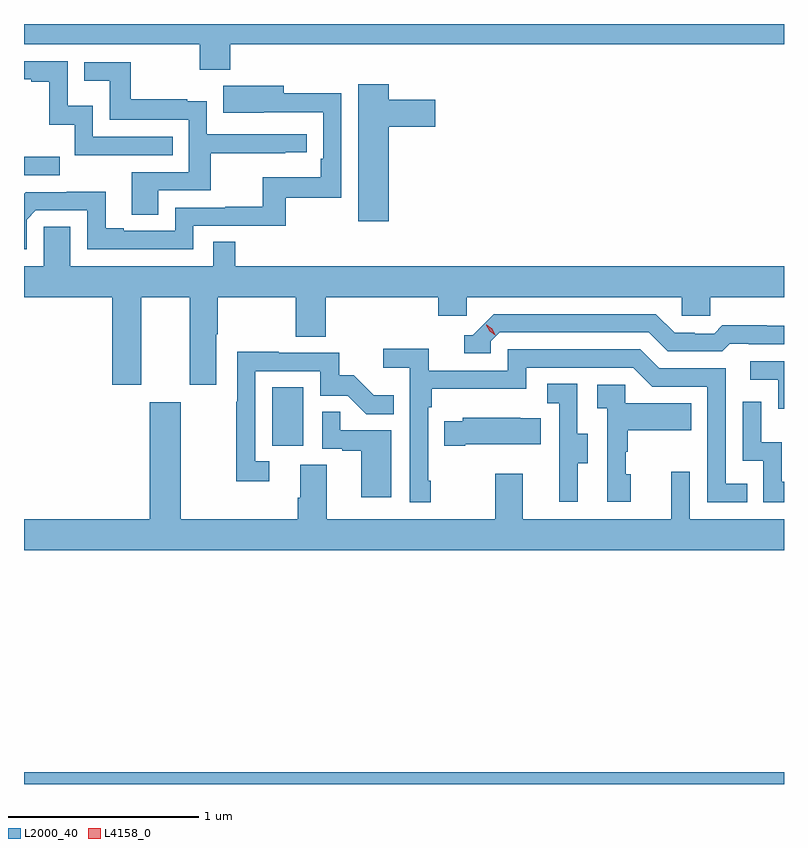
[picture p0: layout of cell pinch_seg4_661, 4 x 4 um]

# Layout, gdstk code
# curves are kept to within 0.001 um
import gdstk
lib = gdstk.Library(unit=1e-6, precision=1e-09)
def R(c, l, rs):  # rectangles x0, y0, x1, y1
    for r in rs: c.add(gdstk.rectangle(r[:2], r[2:], *l))
def P(c, l, *ps):  # polygons
    for p in ps: c.add(gdstk.Polygon(p, *l))
L2000_40 = (2000, 40)
L4158_0 = (4158, 0)

pinch_seg4_661 = lib.new_cell('pinch_seg4_661')
R(pinch_seg4_661, L2000_40, [(1117.281,764.954,1121.281,765.016), (1118.588,766.734,1118.752,767.041), (1117.281,768.159,1117.468,768.256)])
P(pinch_seg4_661, L2000_40, [(1118.366,768.848),(1121.281,768.848),(1121.281,768.954),(1117.281,768.954),(1117.281,768.848),(1118.206,768.848),(1118.206,768.713),(1118.366,768.713)],
  [(1118.063,768.36),(1117.644,768.36),(1117.644,768.523),(1117.512,768.523),(1117.512,768.759),(1117.281,768.759),(1117.281,768.663),(1117.319,768.663),(1117.319,768.651),(1117.415,768.651),(1117.415,768.425),(1117.548,768.425),(1117.548,768.264),(1118.063,768.264)],
  [(1117.987,768.078),(1118.264,768.078),(1118.264,768.274),(1118.657,768.274),(1118.657,768.279),(1118.77,768.279),(1118.77,768.375),(1118.244,768.375),(1118.244,768.547),(1118.141,768.547),(1118.141,768.559),(1117.843,768.559),(1117.843,768.753),(1117.597,768.753),(1117.597,768.656),(1117.732,768.656),(1117.732,768.45),(1118.148,768.45),(1118.148,768.174),(1117.847,768.174),(1117.847,767.95),(1117.987,767.95)],
  [(1119.202,768.413),(1119.445,768.413),(1119.445,768.555),(1119.202,768.555),(1119.202,768.637),(1119.041,768.637),(1119.041,767.916),(1119.202,767.916)],
  [(1117.296,767.925),(1117.344,767.973),(1117.614,767.973),(1117.614,767.769),(1118.172,767.769),(1118.172,767.892),(1118.659,767.892),(1118.659,768.039),(1118.952,768.039),(1118.952,768.59),(1118.647,768.59),(1118.647,768.628),(1118.329,768.628),(1118.329,768.488),(1118.856,768.489),(1118.856,768.244),(1118.843,768.244),(1118.843,768.148),(1118.538,768.148),(1118.538,767.993),(1118.341,767.993),(1118.341,767.988),(1118.076,767.988),(1118.076,767.865),(1117.807,767.865),(1117.807,767.878),(1117.711,767.878),(1117.711,768.071),(1117.506,768.071),(1117.506,768.069),(1117.29,768.069),(1117.281,768.06),(1117.281,767.769),(1117.296,767.769)],
  [(1118.393,767.807),(1118.277,767.807),(1118.277,767.68),(1117.525,767.68),(1117.525,767.888),(1117.386,767.888),(1117.386,767.68),(1117.281,767.68),(1117.281,767.516),(1117.745,767.516),(1117.745,767.055),(1117.897,767.055),(1117.897,767.516),(1118.153,767.516),(1118.153,767.055),(1118.293,767.055),(1118.293,767.32),(1118.301,767.32),(1118.301,767.516),(1118.71,767.516),(1118.71,767.308),(1118.87,767.308),(1118.87,767.516),(1119.461,767.516),(1119.461,767.418),(1119.612,767.418),(1119.612,767.516),(1120.743,767.516),(1120.743,767.418),(1120.893,767.418),(1120.893,767.516),(1121.281,767.516),(1121.281,767.68),(1118.393,767.68)],
  [(1119.738,767.283),(1119.786,767.331),(1120.569,767.331),(1120.668,767.232),(1120.957,767.232),(1120.996,767.271),(1121.095,767.271),(1121.095,767.268),(1121.281,767.268),(1121.281,767.365),(1121.19,767.365),(1121.19,767.368),(1120.957,767.368),(1120.915,767.325),(1120.812,767.325),(1120.812,767.328),(1120.705,767.328),(1120.606,767.427),(1119.753,767.427),(1119.642,767.316),(1119.599,767.316),(1119.599,767.22),(1119.738,767.22)],
  [(1119.421,766.549),(1119.408,766.549),(1119.408,766.937),(1119.428,766.937),(1119.428,767.033),(1119.924,767.033),(1119.924,767.145),(1120.488,767.145),(1120.587,767.046),(1120.878,767.046),(1120.878,766.437),(1121.087,766.437),(1121.087,766.533),(1120.974,766.533),(1120.974,767.142),(1120.624,767.142),(1120.525,767.241),(1119.828,767.241),(1119.828,767.13),(1119.41,767.13),(1119.41,767.246),(1119.171,767.246),(1119.171,767.144),(1119.312,767.144),(1119.312,766.437),(1119.421,766.437)],
  [(1118.572,766.653),(1118.499,766.653),(1118.499,767.127),(1118.841,767.127),(1118.841,766.998),(1118.985,766.998),(1119.083,766.9),(1119.227,766.9),(1119.227,766.999),(1119.123,766.999),(1119.016,767.106),(1118.94,767.106),(1118.94,767.223),(1118.621,767.223),(1118.621,767.228),(1118.403,767.228),(1118.403,766.967),(1118.398,766.967),(1118.398,766.548),(1118.572,766.548)],
  [(1121.281,767.178),(1121.103,767.178),(1121.103,767.082),(1121.25,767.082),(1121.25,766.929),(1121.281,766.929)],
  [(1120.195,766.642),(1120.249,766.642),(1120.249,766.797),(1120.194,766.797),(1120.194,767.06),(1120.035,767.06),(1120.035,766.957),(1120.098,766.957),(1120.098,766.653),(1120.097,766.653),(1120.097,766.44),(1120.195,766.44)],
  [(1120.474,766.584),(1120.449,766.584),(1120.449,766.703),(1120.459,766.703),(1120.459,766.817),(1120.793,766.817),(1120.793,766.957),(1120.446,766.957),(1120.446,767.055),(1120.299,767.055),(1120.299,766.931),(1120.35,766.931),(1120.35,766.44),(1120.474,766.44)],
  [(1121.281,766.546),(1121.27,766.546),(1121.27,766.754),(1121.16,766.754),(1121.16,766.966),(1121.064,766.966),(1121.064,766.656),(1121.172,766.656),(1121.172,766.437),(1121.281,766.437)],
  [(1121.281,766.348),(1120.785,766.348),(1120.785,766.597),(1120.688,766.597),(1120.688,766.348),(1119.907,766.348),(1119.907,766.588),(1119.76,766.588),(1119.76,766.348),(1118.875,766.348),(1118.875,766.634),(1118.735,766.634),(1118.735,766.46),(1118.723,766.46),(1118.723,766.348),(1118.107,766.348),(1118.107,766.963),(1117.943,766.963),(1117.943,766.348),(1117.281,766.348),(1117.281,766.184),(1121.281,766.184)],
  [(1119.214,766.815),(1118.945,766.815),(1118.945,766.913),(1118.85,766.913),(1118.85,766.719),(1118.957,766.719),(1118.957,766.707),(1119.056,766.707),(1119.056,766.464),(1119.214,766.464)],
  [(1119.604,766.742),(1120.001,766.742),(1120.001,766.879),(1119.893,766.879),(1119.893,766.882),(1119.591,766.882),(1119.591,766.864),(1119.493,766.864),(1119.493,766.735),(1119.604,766.735)])
P(pinch_seg4_661, L4158_0, [(1119.762,767.317),(1119.731,767.336),(1119.715,767.369),(1119.715,767.37),(1119.716,767.37),(1119.746,767.35),(1119.762,767.317),(1119.762,767.317)])

lib.write_gds('pinch_seg4_661.gds')
